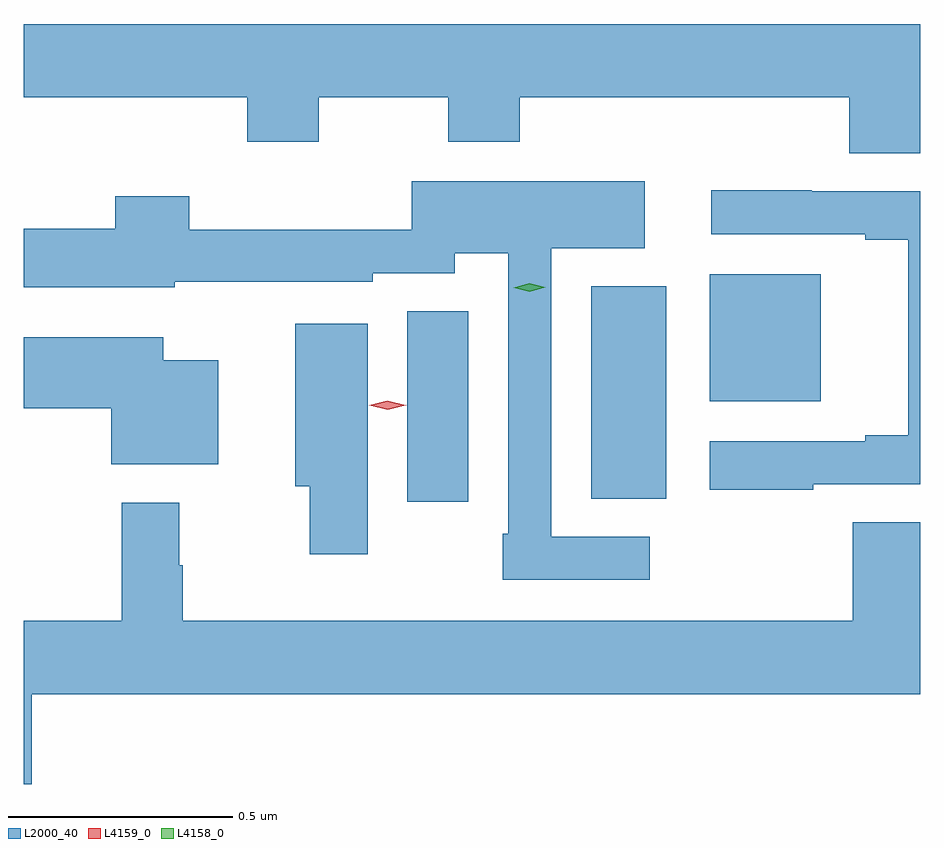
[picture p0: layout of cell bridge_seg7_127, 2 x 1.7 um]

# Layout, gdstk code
import gdstk
lib = gdstk.Library(unit=1e-6, precision=1e-09)
def R(c, l, rs):  # rectangles x0, y0, x1, y1
    for r in rs: c.add(gdstk.rectangle(r[:2], r[2:], *l))
def P(c, l, *ps):  # polygons
    for p in ps: c.add(gdstk.Polygon(p, *l))
L2000_40 = (2000, 40)
L4158_0 = (4158, 0)
L4159_0 = (4159, 0)

bridge_seg7_127 = lib.new_cell('bridge_seg7_127')
R(bridge_seg7_127, L2000_40, [(799.16,1013.034,799.297,1013.459), (799.571,1013.041,799.738,1013.515), (799.835,1013.258,800.083,1013.542)])
P(bridge_seg7_127, L2000_40, [(800.305,1014.1),(798.305,1014.1),(798.305,1013.936),(798.803,1013.936),(798.803,1013.837),(798.963,1013.837),(798.963,1013.936),(799.252,1013.936),(799.252,1013.837),(799.412,1013.837),(799.412,1013.936),(800.147,1013.936),(800.147,1013.812),(800.305,1013.812)],
  [(799.702,1012.956),(799.482,1012.956),(799.482,1013.6),(799.69,1013.6),(799.69,1013.749),(799.17,1013.749),(799.17,1013.641),(798.674,1013.641),(798.674,1013.716),(798.509,1013.716),(798.509,1013.643),(798.305,1013.643),(798.305,1013.513),(798.642,1013.513),(798.642,1013.525),(799.083,1013.525),(799.083,1013.544),(799.266,1013.544),(799.266,1013.588),(799.386,1013.588),(799.386,1012.963),(799.374,1012.963),(799.374,1012.86),(799.702,1012.86)],
  [(800.066,1013.073),(800.305,1013.073),(800.305,1013.727),(800.063,1013.727),(800.063,1013.729),(799.839,1013.729),(799.839,1013.631),(800.183,1013.631),(800.183,1013.619),(800.279,1013.619),(800.279,1013.182),(800.183,1013.182),(800.183,1013.169),(799.836,1013.169),(799.836,1013.061),(800.066,1013.061)],
  [(799.072,1013.431),(798.911,1013.431),(798.911,1013.069),(798.943,1013.069),(798.943,1012.917),(799.072,1012.917)],
  [(798.739,1013.35),(798.616,1013.35),(798.616,1013.401),(798.305,1013.401),(798.305,1013.242),(798.5,1013.242),(798.5,1013.117),(798.739,1013.117)],
  [(798.323,1012.604),(800.305,1012.604),(800.305,1012.988),(800.155,1012.988),(800.155,1012.768),(798.659,1012.768),(798.659,1012.892),(798.652,1012.892),(798.652,1013.032),(798.523,1013.032),(798.523,1012.768),(798.305,1012.768),(798.305,1012.404),(798.323,1012.404)])
P(bridge_seg7_127, L4158_0, [(799.434,1013.502),(799.398,1013.511),(799.398,1013.511),(799.398,1013.511),(799.433,1013.522),(799.468,1013.513),(799.468,1013.513),(799.468,1013.512)])
P(bridge_seg7_127, L4159_0, [(799.117,1013.239),(799.076,1013.249),(799.075,1013.249),(799.076,1013.249),(799.116,1013.259),(799.157,1013.249),(799.158,1013.249),(799.157,1013.249)])

lib.write_gds('bridge_seg7_127.gds')
